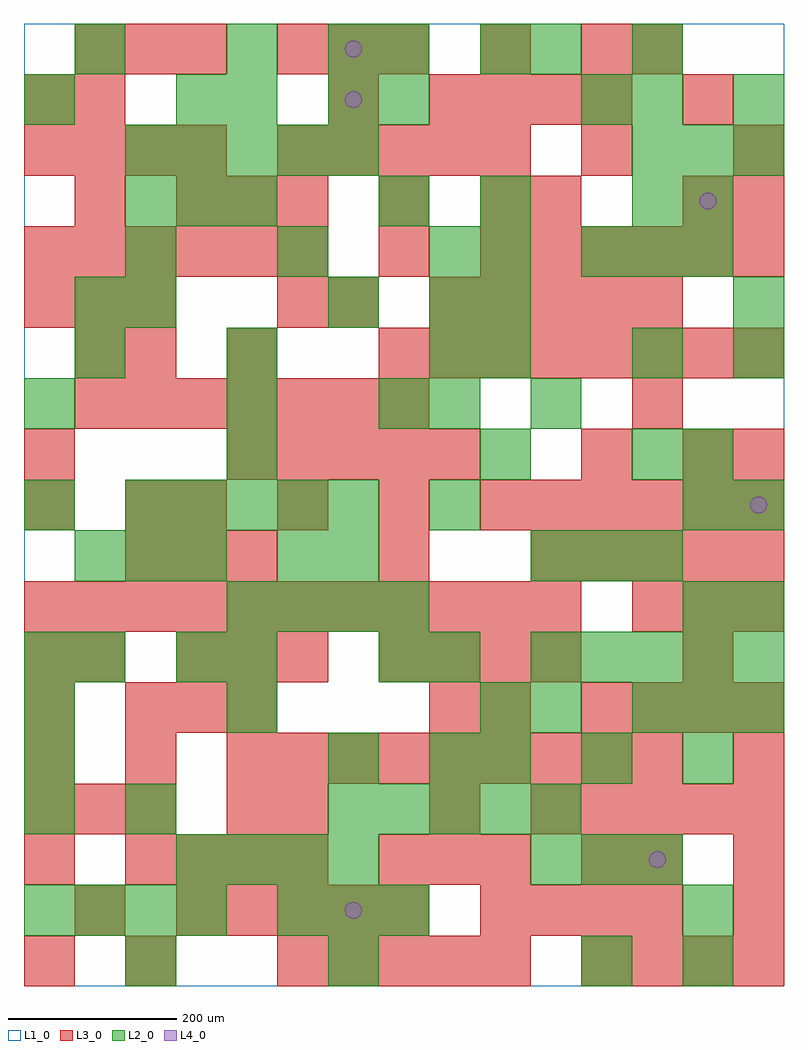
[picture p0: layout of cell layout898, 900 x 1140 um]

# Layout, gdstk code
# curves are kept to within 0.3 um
import gdstk
lib = gdstk.Library(unit=1e-6, precision=1e-09)
def R(c, l, rs):  # rectangles x0, y0, x1, y1
    for r in rs: c.add(gdstk.rectangle(r[:2], r[2:], *l))
def A(c, l, x, y, w, h, nx, ny, dx, dy):  # array of equal rectangles
    R(c, l, [(x+i*dx, y+j*dy, x+i*dx+w, y+j*dy+h) for i in range(nx) for j in range(ny)])
def P(c, l, *ps):  # polygons
    for p in ps: c.add(gdstk.Polygon(p, *l))
L1_0 = (1, 0)
L2_0 = (2, 0)
L3_0 = (3, 0)
L4_0 = (4, 0)

layout898 = lib.new_cell('layout898')
R(layout898, L1_0, [(0,0,900,1140)])
A(layout898, L2_0, 360, 0, 60, 60, 1, 3, 0, 240)
A(layout898, L2_0, 0, 60, 60, 60, 4, 1, 60, 0)
A(layout898, L2_0, 300, 60, 60, 60, 3, 1, 60, 0)
A(layout898, L2_0, 180, 120, 60, 60, 4, 1, 60, 0)
A(layout898, L2_0, 600, 120, 60, 60, 3, 2, 60, 360)
A(layout898, L2_0, 0, 180, 60, 60, 1, 4, 0, 60)
A(layout898, L2_0, 360, 180, 60, 60, 5, 1, 60, 0)
A(layout898, L2_0, 540, 240, 60, 60, 3, 1, 120, 0)
A(layout898, L2_0, 720, 300, 60, 60, 3, 2, 60, 660)
A(layout898, L2_0, 600, 360, 60, 60, 5, 1, 60, 0)
A(layout898, L2_0, 240, 420, 60, 60, 4, 1, 60, 0)
A(layout898, L2_0, 60, 480, 60, 60, 3, 1, 60, 0)
A(layout898, L2_0, 120, 540, 60, 60, 5, 2, 60, 420)
A(layout898, L2_0, 240, 600, 60, 60, 1, 3, 0, 60)
A(layout898, L2_0, 480, 660, 60, 60, 1, 3, 0, 60)
A(layout898, L2_0, 540, 720, 60, 60, 1, 4, 0, 60)
A(layout898, L2_0, 120, 840, 60, 60, 3, 1, 180, 0)
A(layout898, L2_0, 660, 840, 60, 60, 3, 1, 60, 0)
A(layout898, L2_0, 120, 900, 60, 60, 3, 1, 60, 0)
R(layout898, L2_0, [(120,0,180,60), (660,0,720,60), (780,0,840,60), (780,60,840,120), (120,180,180,240), (480,240,540,300), (240,300,300,360), (540,300,600,360), (600,300,660,360), (60,360,120,420), (180,360,240,420), (240,360,300,420), (420,360,480,420), (480,360,540,420), (780,420,840,480), (840,420,900,480), (300,480,360,540), (0,540,60,600), (480,540,540,600), (780,540,840,600), (840,540,900,600), (540,600,600,660), (720,600,780,660), (780,600,840,660), (0,660,60,720), (420,660,480,720), (600,660,660,720), (60,720,120,780), (720,720,780,780), (840,720,900,780), (60,780,120,840), (120,780,180,840), (360,780,420,840), (840,780,900,840), (420,900,480,960), (720,900,780,960), (780,900,840,960), (0,1020,60,1080), (180,1020,240,1080), (240,1020,300,1080), (360,1020,420,1080), (420,1020,480,1080), (660,1020,720,1080), (720,1020,780,1080), (840,1020,900,1080), (60,1080,120,1140), (240,1080,300,1140), (360,1080,420,1140), (420,1080,480,1140), (540,1080,600,1140), (600,1080,660,1140), (720,1080,780,1140)])
A(layout898, L3_0, 300, 0, 60, 60, 5, 2, 60, 960)
A(layout898, L3_0, 660, 0, 60, 60, 4, 2, 60, 300)
A(layout898, L3_0, 180, 60, 60, 60, 5, 1, 60, 0)
A(layout898, L3_0, 540, 60, 60, 60, 4, 1, 60, 0)
A(layout898, L3_0, 120, 120, 60, 60, 4, 1, 60, 0)
A(layout898, L3_0, 420, 120, 60, 60, 3, 1, 60, 0)
A(layout898, L3_0, 0, 180, 60, 60, 3, 2, 60, 600)
A(layout898, L3_0, 600, 180, 60, 60, 5, 2, 60, 300)
A(layout898, L3_0, 0, 240, 60, 60, 3, 1, 120, 0)
A(layout898, L3_0, 300, 240, 60, 60, 8, 1, 60, 0)
A(layout898, L3_0, 120, 300, 60, 60, 3, 2, 60, 180)
A(layout898, L3_0, 180, 360, 60, 60, 3, 2, 60, 540)
A(layout898, L3_0, 420, 360, 60, 60, 4, 1, 60, 0)
A(layout898, L3_0, 0, 420, 60, 60, 11, 1, 60, 0)
A(layout898, L3_0, 720, 420, 60, 60, 3, 1, 60, 0)
A(layout898, L3_0, 180, 540, 60, 60, 4, 1, 120, 0)
A(layout898, L3_0, 600, 540, 60, 60, 5, 1, 60, 0)
A(layout898, L3_0, 240, 600, 60, 60, 5, 1, 60, 0)
A(layout898, L3_0, 60, 660, 60, 60, 7, 1, 60, 0)
A(layout898, L3_0, 420, 720, 60, 60, 8, 1, 60, 0)
A(layout898, L3_0, 480, 780, 60, 60, 5, 1, 60, 0)
A(layout898, L3_0, 0, 840, 60, 60, 6, 1, 60, 0)
A(layout898, L3_0, 540, 840, 60, 60, 6, 1, 60, 0)
A(layout898, L3_0, 0, 960, 60, 60, 4, 1, 60, 0)
A(layout898, L3_0, 480, 1020, 60, 60, 4, 1, 60, 0)
A(layout898, L3_0, 60, 1080, 60, 60, 3, 1, 60, 0)
A(layout898, L3_0, 300, 1080, 60, 60, 3, 1, 60, 0)
R(layout898, L3_0, [(0,0,60,60), (120,0,180,60), (60,60,120,120), (840,60,900,120), (0,120,60,180), (660,120,720,180), (720,120,780,180), (840,120,900,180), (240,180,300,240), (300,180,360,240), (480,180,540,240), (840,240,900,300), (0,300,60,360), (480,300,540,360), (540,300,600,360), (0,360,60,420), (60,360,120,420), (780,360,840,420), (420,480,480,540), (0,540,60,600), (120,540,180,600), (0,600,60,660), (660,600,720,660), (780,600,840,660), (840,600,900,660), (720,660,780,720), (60,720,120,780), (120,720,180,780), (240,720,300,780), (300,780,360,840), (360,780,420,840), (420,840,480,900), (60,900,120,960), (420,900,480,960), (540,900,600,960), (600,900,660,960), (780,900,840,960), (840,900,900,960), (660,960,720,1020), (840,960,900,1020), (0,1020,60,1080), (60,1020,120,1080), (360,1020,420,1080), (780,1020,840,1080), (540,1080,600,1140), (660,1080,720,1140), (720,1080,780,1140)])
P(layout898, L4_0, [(400,90),(399.239,93.827),(397.071,97.071),(393.827,99.239),(390,100),(386.173,99.239),(382.929,97.071),(380.761,93.827),(380,90),(380.761,86.173),(382.929,82.929),(386.173,80.761),(390,80),(393.827,80.761),(397.071,82.929),(399.239,86.173)],
  [(400,1050),(399.239,1053.827),(397.071,1057.071),(393.827,1059.239),(390,1060),(386.173,1059.239),(382.929,1057.071),(380.761,1053.827),(380,1050),(380.761,1046.173),(382.929,1042.929),(386.173,1040.761),(390,1040),(393.827,1040.761),(397.071,1042.929),(399.239,1046.173)],
  [(400,1110),(399.239,1113.827),(397.071,1117.071),(393.827,1119.239),(390,1120),(386.173,1119.239),(382.929,1117.071),(380.761,1113.827),(380,1110),(380.761,1106.173),(382.929,1102.929),(386.173,1100.761),(390,1100),(393.827,1100.761),(397.071,1102.929),(399.239,1106.173)],
  [(760,150),(759.239,153.827),(757.071,157.071),(753.827,159.239),(750,160),(746.173,159.239),(742.929,157.071),(740.761,153.827),(740,150),(740.761,146.173),(742.929,142.929),(746.173,140.761),(750,140),(753.827,140.761),(757.071,142.929),(759.239,146.173)],
  [(820,930),(819.239,933.827),(817.071,937.071),(813.827,939.239),(810,940),(806.173,939.239),(802.929,937.071),(800.761,933.827),(800,930),(800.761,926.173),(802.929,922.929),(806.173,920.761),(810,920),(813.827,920.761),(817.071,922.929),(819.239,926.173)],
  [(880,570),(879.239,573.827),(877.071,577.071),(873.827,579.239),(870,580),(866.173,579.239),(862.929,577.071),(860.761,573.827),(860,570),(860.761,566.173),(862.929,562.929),(866.173,560.761),(870,560),(873.827,560.761),(877.071,562.929),(879.239,566.173)])

lib.write_gds('layout898.gds')
